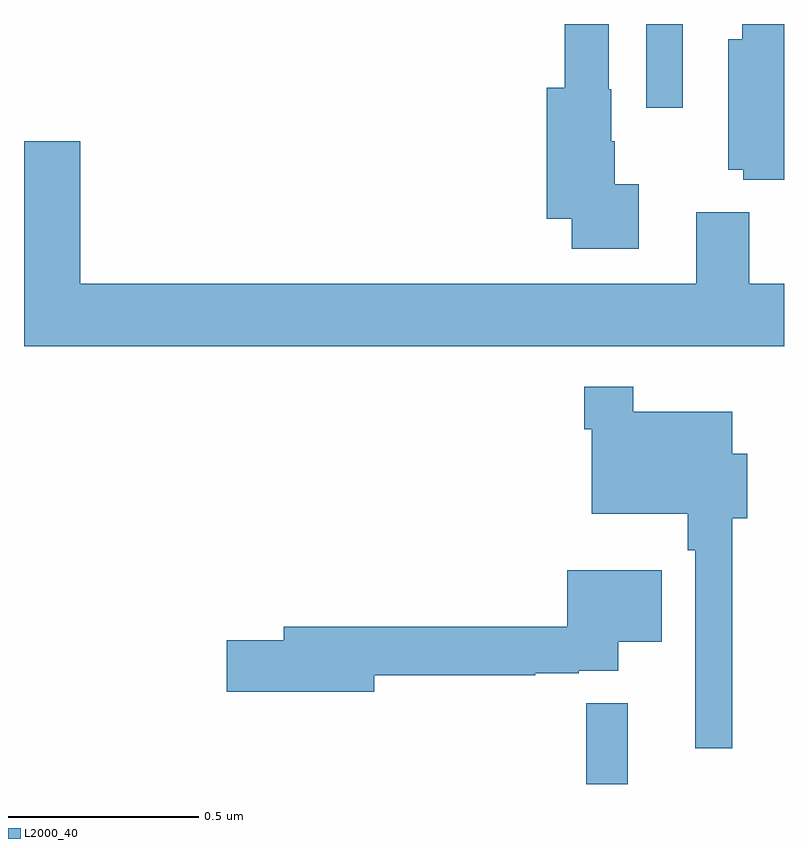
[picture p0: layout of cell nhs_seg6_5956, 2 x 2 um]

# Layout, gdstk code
import gdstk
lib = gdstk.Library(unit=1e-6, precision=1e-09)
def R(c, l, rs):  # rectangles x0, y0, x1, y1
    for r in rs: c.add(gdstk.rectangle(r[:2], r[2:], *l))
def P(c, l, *ps):  # polygons
    for p in ps: c.add(gdstk.Polygon(p, *l))
L2000_40 = (2000, 40)

nhs_seg6_5956 = lib.new_cell('nhs_seg6_5956')
R(nhs_seg6_5956, L2000_40, [(190.48,963.5,190.589,963.713), (190.638,965.28,190.734,965.5)])
P(nhs_seg6_5956, L2000_40, [(190.618,965.078),(190.554,965.078),(190.554,965.192),(190.546,965.192),(190.546,965.328),(190.539,965.328),(190.539,965.5),(190.423,965.5),(190.423,965.332),(190.376,965.332),(190.376,964.988),(190.442,964.988),(190.442,964.908),(190.618,964.908)],
  [(191,965.5),(190.89,965.5),(190.89,965.46),(190.853,965.46),(190.853,965.117),(190.893,965.117),(190.893,965.09),(191,965.09)],
  [(191,964.816),(190.909,964.816),(190.909,965.005),(190.769,965.005),(190.769,964.816),(189.148,964.816),(189.148,965.191),(189,965.191),(189,964.652),(191,964.652)],
  [(190.864,964.199),(190.903,964.199),(190.903,964.369),(190.864,964.369),(190.864,964.48),(190.603,964.48),(190.603,964.546),(190.474,964.546),(190.474,964.433),(190.494,964.433),(190.494,964.211),(190.747,964.211),(190.747,964.115),(190.767,964.115),(190.767,963.594),(190.864,963.594)],
  [(189.922,963.786),(190.346,963.786),(190.346,963.792),(190.46,963.792),(190.46,963.798),(190.564,963.798),(190.564,963.875),(190.678,963.875),(190.678,964.063),(190.43,964.063),(190.43,963.914),(189.683,963.914),(189.683,963.878),(189.534,963.878),(189.534,963.743),(189.922,963.743)])

lib.write_gds('nhs_seg6_5956.gds')
